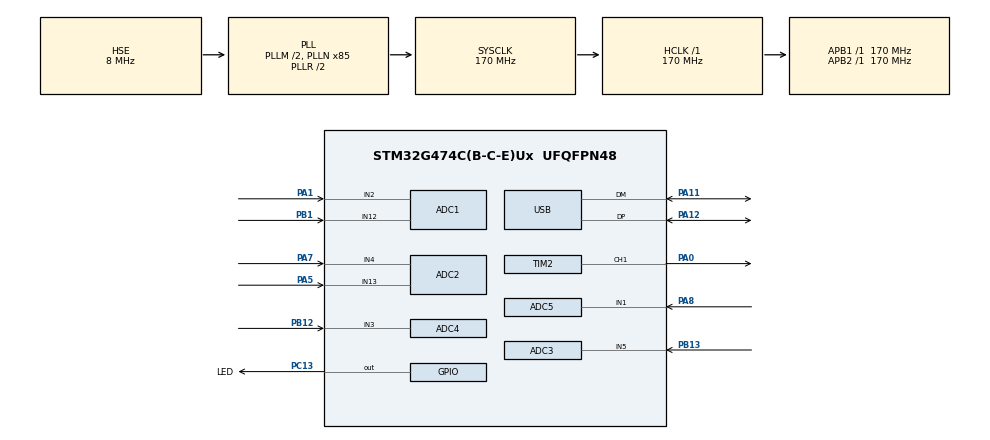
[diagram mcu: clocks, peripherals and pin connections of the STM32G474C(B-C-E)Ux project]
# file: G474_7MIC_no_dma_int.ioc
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ADC1.Channel-1\#ChannelRegularConversion=ADC_CHANNEL_2
ADC1.Channel-2\#ChannelRegularConversion=ADC_CHANNEL_12
ADC1.ContinuousConvMode=ENABLE
ADC1.DMAContinuousRequests=ENABLE
ADC1.ExternalTrigConv=ADC_SOFTWARE_START
ADC1.NbrOfConversion=2
ADC1.NbrOfConversionFlag=1
ADC1.OffsetNumber-1\#ChannelRegularConversion=ADC_OFFSET_NONE
ADC1.OffsetNumber-2\#ChannelRegularConversion=ADC_OFFSET_NONE
ADC1.Rank-1\#ChannelRegularConversion=1
ADC1.Rank-2\#ChannelRegularConversion=2
ADC1.SamplingTime-1\#ChannelRegularConversion=ADC_SAMPLETIME_640CYCLES_5
ADC1.SamplingTime-2\#ChannelRegularConversion=ADC_SAMPLETIME_640CYCLES_5
ADC1.master=1
ADC2.Channel-0\#ChannelRegularConversion=ADC_CHANNEL_4
ADC2.Channel-1\#ChannelRegularConversion=ADC_CHANNEL_13
ADC2.ContinuousConvMode=ENABLE
ADC2.DMAContinuousRequests=ENABLE
ADC2.ExternalTrigConv=ADC_SOFTWARE_START
ADC2.GainCompensation=0
ADC2.NbrOfConversion=2
ADC2.NbrOfConversionFlag=1
ADC2.OffsetNumber-0\#ChannelRegularConversion=ADC_OFFSET_NONE
ADC2.OffsetNumber-1\#ChannelRegularConversion=ADC_OFFSET_NONE
ADC2.Rank-0\#ChannelRegularConversion=1
ADC2.Rank-1\#ChannelRegularConversion=2
ADC2.SamplingTime-0\#ChannelRegularConversion=ADC_SAMPLETIME_640CYCLES_5
ADC2.SamplingTime-1\#ChannelRegularConversion=ADC_SAMPLETIME_640CYCLES_5
ADC3.Channel-0\#ChannelRegularConversion=ADC_CHANNEL_5
ADC3.ContinuousConvMode=ENABLE
ADC3.DMAContinuousRequests=ENABLE
ADC3.ExternalTrigConv=ADC_SOFTWARE_START
ADC3.NbrOfConversionFlag=1
ADC3.OffsetNumber-0\#ChannelRegularConversion=ADC_OFFSET_NONE
ADC3.Rank-0\#ChannelRegularConversion=1
ADC3.SamplingTime-0\#ChannelRegularConversion=ADC_SAMPLETIME_640CYCLES_5
ADC3.master=1
ADC4.Channel-0\#ChannelRegularConversion=ADC_CHANNEL_3
ADC4.ContinuousConvMode=ENABLE
ADC4.DMAContinuousRequests=ENABLE
ADC4.ExternalTrigConv=ADC_SOFTWARE_START
ADC4.NbrOfConversionFlag=1
ADC4.OffsetNumber-0\#ChannelRegularConversion=ADC_OFFSET_NONE
ADC4.Rank-0\#ChannelRegularConversion=1
ADC4.SamplingTime-0\#ChannelRegularConversion=ADC_SAMPLETIME_640CYCLES_5
ADC5.Channel-0\#ChannelRegularConversion=ADC_CHANNEL_1
ADC5.ContinuousConvMode=ENABLE
ADC5.DMAContinuousRequests=ENABLE
ADC5.ExternalTrigConv=ADC_SOFTWARE_START
ADC5.NbrOfConversionFlag=1
ADC5.OffsetNumber-0\#ChannelRegularConversion=ADC_OFFSET_NONE
ADC5.Rank-0\#ChannelRegularConversion=1
ADC5.SamplingTime-0\#ChannelRegularConversion=ADC_SAMPLETIME_640CYCLES_5
Dma.ADC1.0.Direction=DMA_PERIPH_TO_MEMORY
Dma.ADC1.0.EventEnable=DISABLE
Dma.ADC1.0.Instance=DMA1_Channel1
Dma.ADC1.0.MemDataAlignment=DMA_MDATAALIGN_HALFWORD
Dma.ADC1.0.MemInc=DMA_MINC_ENABLE
Dma.ADC1.0.Mode=DMA_CIRCULAR
Dma.ADC1.0.PeriphDataAlignment=DMA_PDATAALIGN_HALFWORD
Dma.ADC1.0.PeriphInc=DMA_PINC_DISABLE
Dma.ADC1.0.Polarity=HAL_DMAMUX_REQ_GEN_RISING
Dma.ADC1.0.Priority=DMA_PRIORITY_MEDIUM
Dma.ADC1.0.RequestNumber=1
Dma.ADC1.0.SignalID=NONE
Dma.ADC1.0.SyncEnable=DISABLE
Dma.ADC1.0.SyncPolarity=HAL_DMAMUX_SYNC_NO_EVENT
Dma.ADC1.0.SyncRequestNumber=1
Dma.ADC1.0.SyncSignalID=NONE
Dma.ADC2.1.Direction=DMA_PERIPH_TO_MEMORY
Dma.ADC2.1.EventEnable=DISABLE
Dma.ADC2.1.Instance=DMA1_Channel2
Dma.ADC2.1.MemDataAlignment=DMA_MDATAALIGN_HALFWORD
Dma.ADC2.1.MemInc=DMA_MINC_ENABLE
Dma.ADC2.1.Mode=DMA_CIRCULAR
Dma.ADC2.1.PeriphDataAlignment=DMA_PDATAALIGN_HALFWORD
Dma.ADC2.1.PeriphInc=DMA_PINC_DISABLE
Dma.ADC2.1.Polarity=HAL_DMAMUX_REQ_GEN_RISING
Dma.ADC2.1.Priority=DMA_PRIORITY_LOW
Dma.ADC2.1.RequestNumber=1
Dma.ADC2.1.SignalID=NONE
Dma.ADC2.1.SyncEnable=DISABLE
Dma.ADC2.1.SyncPolarity=HAL_DMAMUX_SYNC_NO_EVENT
Dma.ADC2.1.SyncRequestNumber=1
Dma.ADC2.1.SyncSignalID=NONE
Dma.ADC3.2.Direction=DMA_PERIPH_TO_MEMORY
Dma.ADC3.2.EventEnable=DISABLE
Dma.ADC3.2.Instance=DMA2_Channel1
Dma.ADC3.2.MemDataAlignment=DMA_MDATAALIGN_HALFWORD
Dma.ADC3.2.MemInc=DMA_MINC_ENABLE
Dma.ADC3.2.Mode=DMA_CIRCULAR
Dma.ADC3.2.PeriphDataAlignment=DMA_PDATAALIGN_HALFWORD
Dma.ADC3.2.PeriphInc=DMA_PINC_DISABLE
Dma.ADC3.2.Polarity=HAL_DMAMUX_REQ_GEN_RISING
Dma.ADC3.2.Priority=DMA_PRIORITY_LOW
Dma.ADC3.2.RequestNumber=1
Dma.ADC3.2.SignalID=NONE
Dma.ADC3.2.SyncEnable=DISABLE
Dma.ADC3.2.SyncPolarity=HAL_DMAMUX_SYNC_NO_EVENT
Dma.ADC3.2.SyncRequestNumber=1
Dma.ADC3.2.SyncSignalID=NONE
Dma.ADC4.3.Direction=DMA_PERIPH_TO_MEMORY
Dma.ADC4.3.EventEnable=DISABLE
Dma.ADC4.3.Instance=DMA2_Channel2
Dma.ADC4.3.MemDataAlignment=DMA_MDATAALIGN_HALFWORD
Dma.ADC4.3.MemInc=DMA_MINC_ENABLE
Dma.ADC4.3.Mode=DMA_CIRCULAR
Dma.ADC4.3.PeriphDataAlignment=DMA_PDATAALIGN_HALFWORD
Dma.ADC4.3.PeriphInc=DMA_PINC_DISABLE
Dma.ADC4.3.Polarity=HAL_DMAMUX_REQ_GEN_RISING
Dma.ADC4.3.Priority=DMA_PRIORITY_LOW
Dma.ADC4.3.RequestNumber=1
Dma.ADC4.3.SignalID=NONE
Dma.ADC4.3.SyncEnable=DISABLE
Dma.ADC4.3.SyncPolarity=HAL_DMAMUX_SYNC_NO_EVENT
Dma.ADC4.3.SyncRequestNumber=1
Dma.ADC4.3.SyncSignalID=NONE
Dma.ADC5.4.Direction=DMA_PERIPH_TO_MEMORY
Dma.ADC5.4.EventEnable=DISABLE
Dma.ADC5.4.Instance=DMA2_Channel3
Dma.ADC5.4.MemDataAlignment=DMA_MDATAALIGN_HALFWORD
Dma.ADC5.4.MemInc=DMA_MINC_ENABLE
Dma.ADC5.4.Mode=DMA_CIRCULAR
Dma.ADC5.4.PeriphDataAlignment=DMA_PDATAALIGN_HALFWORD
Dma.ADC5.4.PeriphInc=DMA_PINC_DISABLE
Dma.ADC5.4.Polarity=HAL_DMAMUX_REQ_GEN_RISING
Dma.ADC5.4.Priority=DMA_PRIORITY_VERY_HIGH
Dma.ADC5.4.RequestNumber=1
Dma.ADC5.4.SignalID=NONE
Dma.ADC5.4.SyncEnable=DISABLE
Dma.ADC5.4.SyncPolarity=HAL_DMAMUX_SYNC_NO_EVENT
Dma.ADC5.4.SyncRequestNumber=1
Dma.ADC5.4.SyncSignalID=NONE
Dma.Request0=ADC1
Dma.Request1=ADC2
Dma.Request2=ADC3
Dma.Request3=ADC4
Dma.Request4=ADC5
FREERTOS.Events01=adc_dma_Event,Dynamic,NULL
FREERTOS.INCLUDE_vTaskDelayUntil=1
FREERTOS.INCLUDE_xEventGroupSetBitFromISR=1
FREERTOS.Tasks01=defaultTask,24,2048,StartDefaultTask,Default,NULL,Dynamic,NULL,NULL;ledTask,8,64,LEDTask,Default,NULL,Dynamic,NULL,NULL
FREERTOS.configENABLE_FPU=1
FREERTOS.configMINIMAL_STACK_SIZE=64
FREERTOS.configTOTAL_HEAP_SIZE=20480
Mcu.Family=STM32G4
Mcu.Name=STM32G474C(B-C-E)Ux
Mcu.Package=UFQFPN48
NVIC.PriorityGroup=NVIC_PRIORITYGROUP_4
NVIC.TIM1_TRG_COM_TIM17_IRQn=true\:5\:0\:false\:false\:true\:false\:false\:true\:true
NVIC.TimeBase=TIM1_TRG_COM_TIM17_IRQn
NVIC.TimeBaseIP=TIM17
NVIC.USB_LP_IRQn=true\:5\:0\:false\:false\:true\:true\:false\:true\:true
PA0.GPIO_ModeDefaultPP=GPIO_MODE_AF_OD
PA0.GPIO_Speed=GPIO_SPEED_FREQ_VERY_HIGH
PA0.Signal=S_TIM2_CH1
PA1.Mode=IN2-Single-Ended
PA1.Signal=ADC1_IN2
PA11.Mode=Device
PA11.Signal=USB_DM
PA12.Mode=Device
PA12.Signal=USB_DP
PA13.Mode=Serial_Wire
PA13.Signal=SYS_JTMS-SWDIO
PA14.Mode=Serial_Wire
PA14.Signal=SYS_JTCK-SWCLK
PA5.Mode=IN13-Single-Ended
PA5.Signal=ADC2_IN13
PA7.Mode=IN4-Single-Ended
PA7.Signal=ADC2_IN4
PA8.Mode=IN1-Single-Ended
PA8.Signal=ADC5_IN1
PB1.Mode=IN12-Single-Ended
PB1.Signal=ADC1_IN12
PB12.Mode=IN3-Single-Ended
PB12.Signal=ADC4_IN3
PB13.Mode=IN5-Single-Ended
PB13.Signal=ADC3_IN5
PC13.GPIO_Label=LED
PC13.PinState=GPIO_PIN_SET
PC13.Signal=GPIO_Output
PF0-OSC_IN.Mode=HSE-External-Oscillator
PF0-OSC_IN.Signal=RCC_OSC_IN
PF1-OSC_OUT.Mode=HSE-External-Oscillator
PF1-OSC_OUT.Signal=RCC_OSC_OUT
ProjectManager.HeapSize=0x100
ProjectManager.StackSize=0xA000
ProjectManager.TargetToolchain=MDK-ARM V5.32
RCC.ADC12Freq_Value=170000000
RCC.ADC345Freq_Value=170000000
RCC.AHBFreq_Value=170000000
RCC.APB1Freq_Value=170000000
RCC.APB1TimFreq_Value=170000000
RCC.APB2Freq_Value=170000000
RCC.APB2TimFreq_Value=170000000
RCC.CK48CLockSelection=RCC_USBCLKSOURCE_HSI48
RCC.CortexFreq_Value=170000000
RCC.EXTERNAL_CLOCK_VALUE=12288000
RCC.HCLKFreq_Value=170000000
RCC.HSE_VALUE=8000000
RCC.HSI48_VALUE=48000000
RCC.HSI_VALUE=16000000
RCC.LSE_VALUE=32768
RCC.PLLM=RCC_PLLM_DIV2
RCC.PLLN=85
RCC.PLLSourceVirtual=RCC_PLLSOURCE_HSE
RCC.SYSCLKFreq_VALUE=170000000
RCC.SYSCLKSource=RCC_SYSCLKSOURCE_PLLCLK
RCC.USBFreq_Value=48000000
RCC.VCOOutputFreq_Value=340000000
SH.S_TIM2_CH1.0=TIM2_CH1,PWM Generation1 CH1
TIM2.AutoReloadPreload=TIM_AUTORELOAD_PRELOAD_ENABLE
TIM2.Channel-PWM\ Generation1\ CH1=TIM_CHANNEL_1
TIM2.PeriodNoDither=1
TIM2.Prescaler=1132
TIM2.PulseNoDither_1=1
TIM6.AutoReloadPreload=TIM_AUTORELOAD_PRELOAD_ENABLE
TIM6.PeriodNoDither=99
TIM6.Prescaler=169
TIM6.TIM_MasterOutputTrigger=TIM_TRGO_UPDATE
TIM7.Prescaler=169
USB_DEVICE.CLASS_NAME_FS=CDC
USB_DEVICE.VirtualMode=Cdc
USB_DEVICE.VirtualModeFS=Cdc_FS
VP_FREERTOS_VS_CMSIS_V2.Mode=CMSIS_V2
VP_SYS_VS_DBSignals.Mode=DisableDeadBatterySignals
VP_SYS_VS_tim17.Mode=TIM17
VP_TIM2_VS_ClockSourceINT.Mode=Internal
VP_TIM6_VS_ClockSourceINT.Mode=Enable_Timer
VP_TIM7_VS_ClockSourceINT.Mode=Enable_Timer
VP_USB_DEVICE_VS_USB_DEVICE_CDC_FS.Mode=CDC_FS
board=custom

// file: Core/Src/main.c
/* USER CODE BEGIN Header */
/**
  ******************************************************************************
  * @file           : main.c
  * @brief          : Main program body
  ******************************************************************************
  * @attention
  *
  * Copyright (c) 2025 STMicroelectronics.
  * All rights reserved.
  *
  * This software is licensed under terms that can be found in the LICENSE file
  * in the root directory of this software component.
  * If no LICENSE file comes with this software, it is provided AS-IS.
  *
  ******************************************************************************
  */
/* USER CODE END Header */
#include "main.h"
#include "cmsis_os.h"
#include "adc.h"
#include "dma.h"
#include "tim.h"
#include "usb_device.h"
#include "gpio.h"

void SystemClock_Config(void);
void MX_FREERTOS_Init(void);

/* USER CODE BEGIN 0 */
//char usb_buff[64]={0};
/* USER CODE END 0 */

int main(void)
{

  /* MCU Configuration--------------------------------------------------------*/

  /* Reset of all peripherals, Initializes the Flash interface and the Systick. */
  HAL_Init();

  /* Configure the system clock */
  SystemClock_Config();

  /* Initialize all configured peripherals */
  MX_GPIO_Init();
  MX_DMA_Init();
  MX_USB_Device_Init();
  MX_TIM2_Init();
  MX_ADC1_Init();
  MX_ADC2_Init();
  MX_ADC3_Init();
  MX_ADC4_Init();
  MX_ADC5_Init();
  MX_TIM7_Init();
  MX_TIM6_Init();
  /* USER CODE BEGIN 2 */

//	LL_TIM_SetCounter(TIM2, 0);
//	LL_TIM_EnableCounter(TIM2);//Enable TIM2
//	uint32_t t_start=0, t_end=0;
//	volatile float a = 123.123;
//	volatile float b = 456.456;
//	volatile float c = 0;
  /* USER CODE END 2 */

  /* Init scheduler */
  osKernelInitialize();  /* Call init function for freertos objects (in freertos.c) */
  MX_FREERTOS_Init();

  /* Start scheduler */
  osKernelStart();

  /* We should never get here as control is now taken by the scheduler */
  /* Infinite loop */
  /* USER CODE BEGIN WHILE */
  while (1)
  {
//	  LL_TIM_SetCounter(TIM2, 0);
//	  t_start = LL_TIM_GetCounter(TIM2);
//	  for(uint16_t j = 0; j<100;j++)
//	  for(uint16_t i = 0; i<10000; i++)
//		c = a * b * 123.0f;
//	  t_end = LL_TIM_GetCounter(TIM2)-t_start;
//
//	  sprintf(usb_buff,"calculate time: %u us = %u ms\r\n",t_end,t_end/1000);
//		CDC_Transmit_FS((uint8_t *)usb_buff,strlen(usb_buff));
//		HAL_GPIO_TogglePin(LED_GPIO_Port,LED_Pin);
//		HAL_Delay(100);
    /* USER CODE END WHILE */

  }
}

void SystemClock_Config(void)
{
  RCC_OscInitTypeDef RCC_OscInitStruct = {0};
  RCC_ClkInitTypeDef RCC_ClkInitStruct = {0};

  /** Configure the main internal regulator output voltage
  */
  HAL_PWREx_ControlVoltageScaling(PWR_REGULATOR_VOLTAGE_SCALE1_BOOST);

  /** Initializes the RCC Oscillators according to the specified parameters
  * in the RCC_OscInitTypeDef structure.
  */
  RCC_OscInitStruct.OscillatorType = RCC_OSCILLATORTYPE_HSI48|RCC_OSCILLATORTYPE_HSE;
  RCC_OscInitStruct.HSEState = RCC_HSE_ON;
  RCC_OscInitStruct.HSI48State = RCC_HSI48_ON;
  RCC_OscInitStruct.PLL.PLLState = RCC_PLL_ON;
  RCC_OscInitStruct.PLL.PLLSource = RCC_PLLSOURCE_HSE;
  RCC_OscInitStruct.PLL.PLLM = RCC_PLLM_DIV2;
  RCC_OscInitStruct.PLL.PLLN = 85;
  RCC_OscInitStruct.PLL.PLLP = RCC_PLLP_DIV2;
  RCC_OscInitStruct.PLL.PLLQ = RCC_PLLQ_DIV2;
  RCC_OscInitStruct.PLL.PLLR = RCC_PLLR_DIV2;
  if (HAL_RCC_OscConfig(&RCC_OscInitStruct) != HAL_OK)
  {
    Error_Handler();
  }

  /** Initializes the CPU, AHB and APB buses clocks
  */
  RCC_ClkInitStruct.ClockType = RCC_CLOCKTYPE_HCLK|RCC_CLOCKTYPE_SYSCLK
                              |RCC_CLOCKTYPE_PCLK1|RCC_CLOCKTYPE_PCLK2;
  RCC_ClkInitStruct.SYSCLKSource = RCC_SYSCLKSOURCE_PLLCLK;
  RCC_ClkInitStruct.AHBCLKDivider = RCC_SYSCLK_DIV1;
  RCC_ClkInitStruct.APB1CLKDivider = RCC_HCLK_DIV1;
  RCC_ClkInitStruct.APB2CLKDivider = RCC_HCLK_DIV1;

  if (HAL_RCC_ClockConfig(&RCC_ClkInitStruct, FLASH_LATENCY_4) != HAL_OK)
  {
    Error_Handler();
  }
}

void HAL_TIM_PeriodElapsedCallback(TIM_HandleTypeDef *htim)
{
  if (htim->Instance == TIM17) {
    HAL_IncTick();
  }
}

void Error_Handler(void)
{
  __disable_irq();
  while (1)
  {
  }
}

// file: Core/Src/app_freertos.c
/* USER CODE BEGIN Header */
/**
  ******************************************************************************
  * File Name          : app_freertos.c
  * Description        : Code for freertos applications
  ******************************************************************************
  * @attention
  *
  * Copyright (c) 2025 STMicroelectronics.
  * All rights reserved.
  *
  * This software is licensed under terms that can be found in the LICENSE file
  * in the root directory of this software component.
  * If no LICENSE file comes with this software, it is provided AS-IS.
  *
  ******************************************************************************
  */
/* USER CODE END Header */

#include "FreeRTOS.h"
#include "task.h"
#include "main.h"
#include "cmsis_os.h"

/* USER CODE BEGIN Includes */
#include "event_groups.h"
/* USER CODE END Includes */

/* USER CODE BEGIN PTD */
// 事件标志宏定义（5个ADC，每个有半满和全满事件）
#define EVENT_ADC1_DMA_HALF  (0x0001UL)  // ADC1半满（0~199数据，因ADC1缓存是400）
#define EVENT_ADC1_DMA_FULL  (0x0002UL)  // ADC1全满（200~399数据）
#define EVENT_ADC2_DMA_HALF  (0x0004UL)  // ADC2半满（0~199）
#define EVENT_ADC2_DMA_FULL  (0x0008UL)  // ADC2全满（200~399）
#define EVENT_ADC3_DMA_HALF  (0x0010UL)  // ADC3半满（0~99）
#define EVENT_ADC3_DMA_FULL  (0x0020UL)  // ADC3全满（100~199）
#define EVENT_ADC4_DMA_HALF  (0x0040UL)  // ADC4半满（0~99）
#define EVENT_ADC4_DMA_FULL  (0x0080UL)  // ADC4全满（100~199）
#define EVENT_ADC5_DMA_HALF  (0x0100UL)  // ADC5半满（0~99）
#define EVENT_ADC5_DMA_FULL  (0x0200UL)  // ADC5全满（100~199）

// 2. 组合标志：所有ADC的半满事件（用于同步等待）
#define EVENT_ALL_HALF (EVENT_ADC1_DMA_HALF | EVENT_ADC2_DMA_HALF | \
                        EVENT_ADC3_DMA_HALF | EVENT_ADC4_DMA_HALF | EVENT_ADC5_DMA_HALF)
// 3. 组合标志：所有ADC的全满事件
#define EVENT_ALL_FULL (EVENT_ADC1_DMA_FULL | EVENT_ADC2_DMA_FULL | \
                        EVENT_ADC3_DMA_FULL | EVENT_ADC4_DMA_FULL | EVENT_ADC5_DMA_FULL)

// 2. 组合标志：所有ADC的半满事件（用于同步等待）
#define EVENT_345_HALF (EVENT_ADC3_DMA_HALF | EVENT_ADC4_DMA_HALF | EVENT_ADC5_DMA_HALF)
// 3. 组合标志：所有ADC的全满事件
#define EVENT_345_FULL (EVENT_ADC3_DMA_FULL | EVENT_ADC4_DMA_FULL | EVENT_ADC5_DMA_FULL)

// 数据帧结构定义：2（帧头）+5×100（5路ADC数据）+2（帧尾）=504个Word_union
#define ADC_DATA_CNT  100    // 每路ADC通道单次发送数据量
#define FRAME_HEAD_CNT 2    // 帧头数量
#define FRAME_TAIL_CNT 2    // 帧尾数量
#define TOTAL_WORD_CNT (FRAME_HEAD_CNT + 5*ADC_DATA_CNT + FRAME_TAIL_CNT)
/* USER CODE END PTD */

/* Definitions for defaultTask */
osThreadId_t defaultTaskHandle;
const osThreadAttr_t defaultTask_attributes = {
  .name = "defaultTask",
  .priority = (osPriority_t) osPriorityNormal,
  .stack_size = 2048 * 4
};
/* Definitions for ledTask */
osThreadId_t ledTaskHandle;
const osThreadAttr_t ledTask_attributes = {
  .name = "ledTask",
  .priority = (osPriority_t) osPriorityLow,
  .stack_size = 64 * 4
};
/* Definitions for adc_dma_Event */
osEventFlagsId_t adc_dma_EventHandle;
const osEventFlagsAttr_t adc_dma_Event_attributes = {
  .name = "adc_dma_Event"
};

void StartDefaultTask(void *argument);
void LEDTask(void *argument);

void MX_FREERTOS_Init(void); /* (MISRA C 2004 rule 8.1) */

void MX_FREERTOS_Init(void) {

  /* Create the thread(s) */
  /* creation of defaultTask */
  defaultTaskHandle = osThreadNew(StartDefaultTask, NULL, &defaultTask_attributes);

  /* creation of ledTask */
  ledTaskHandle = osThreadNew(LEDTask, NULL, &ledTask_attributes);

  /* Create the event(s) */
  /* creation of adc_dma_Event */
  adc_dma_EventHandle = osEventFlagsNew(&adc_dma_Event_attributes);

  /* USER CODE BEGIN RTOS_EVENTS */
  /* add events, ... */
//  EventGroupHandle_t xEventGroup = (EventGroupHandle_t)adc_dma_EventHandle; // 转换句柄类型
  /* USER CODE END RTOS_EVENTS */

}

/* USER CODE BEGIN Header_StartDefaultTask */
/**
  * @brief  Function implementing the defaultTask thread.
  * @param  argument: Not used
  * @retval None
  */

#define PACK_FRAME 100
uint16_t ADC1_value[2];//MIC7 MIC4
uint16_t ADC2_value[2];//MIC5 MIC6
uint16_t ADC3_value[1];//MIC2
uint16_t ADC4_value[1];//MIC3
uint16_t ADC5_value[1];//MIC1

volatile Word_union mic_data_1[PACK_FRAME*7+4];
volatile Word_union mic_data_2[PACK_FRAME*7+4];
volatile Word_union* mic_send_p=mic_data_1;
volatile Word_union* mic_store_p=mic_data_2;

//电压采集完成之后需要进行缓存切换
void exchange_res_p(void)
{
	static uint8_t state=1;//第一次运行该函数前 采集的数据存到mic_data_2   第一次运行该函数后状态变为0，发送的指针指向mic_data_1  之后循环往复
	state=!state;

	if(state)
	{
		mic_send_p=mic_data_1;
		mic_store_p=mic_data_2;
	}
	else
	{
		mic_send_p=mic_data_2;
		mic_store_p=mic_data_1;
	}
}

/* USER CODE END Header_StartDefaultTask */
void StartDefaultTask(void *argument)
{
  /* USER CODE BEGIN StartDefaultTask */
	char usb_buff[4096]={0};
	char usb_buff2[256]={0};
	LL_TIM_SetCounter(TIM7, 0);
	LL_TIM_EnableCounter(TIM7);//Enable TIM7
	HAL_TIM_Base_Start(&htim6);
	HAL_TIM_PWM_Start(&htim2,TIM_CHANNEL_1);

	mic_data_1[0].byte[0]=0x55;//帧头
	mic_data_1[0].byte[1]=0xAA;
	mic_data_1[1].byte[0]=0xBB;
	mic_data_1[1].byte[1]=0xCC;
	for(uint16_t i=0;i<PACK_FRAME*7;i++)
	{
		mic_data_1[2+i].word16=i*1+1;
	}
	mic_data_1[PACK_FRAME*7+2].byte[0]=0xAA;//帧尾
	mic_data_1[PACK_FRAME*7+2].byte[1]=0x55;
	mic_data_1[PACK_FRAME*7+3].byte[0]=0x66;
	mic_data_1[PACK_FRAME*7+3].byte[1]=0x77;

	mic_data_2[0].byte[0]=0x55;//帧头
	mic_data_2[0].byte[1]=0xAA;
	mic_data_2[1].byte[0]=0xBB;
	mic_data_2[1].byte[1]=0xCC;
	for(uint16_t i=0;i<PACK_FRAME*7;i++)
	{
		mic_data_2[2+i].word16=i*2+2;
	}
	mic_data_2[PACK_FRAME*7+2].byte[0]=0xAA;//帧尾
	mic_data_2[PACK_FRAME*7+2].byte[1]=0x55;
	mic_data_2[PACK_FRAME*7+3].byte[0]=0x66;
	mic_data_2[PACK_FRAME*7+3].byte[1]=0x77;

	HAL_ADCEx_Calibration_Start(&hadc1,ADC_SINGLE_ENDED);
	HAL_ADCEx_Calibration_Start(&hadc2,ADC_SINGLE_ENDED);
	HAL_ADCEx_Calibration_Start(&hadc3,ADC_SINGLE_ENDED);
	HAL_ADCEx_Calibration_Start(&hadc4,ADC_SINGLE_ENDED);
	HAL_ADCEx_Calibration_Start(&hadc5,ADC_SINGLE_ENDED);

	osDelay(100);

	//要关闭ADC的连续转换，不然不受定时器触发的约束，一直转换
	HAL_ADC_Start_DMA(&hadc1, (uint32_t *)ADC1_value, 2);
	HAL_ADC_Start_DMA(&hadc2, (uint32_t *)ADC2_value, 2);
	HAL_ADC_Start_DMA(&hadc3, (uint32_t *)ADC3_value, 1);
	HAL_ADC_Start_DMA(&hadc4, (uint32_t *)ADC4_value, 1);
	HAL_ADC_Start_DMA(&hadc5, (uint32_t *)ADC5_value, 1);

	uint32_t t_start = 0, t_string = 0, t_send = 0, t_send2 = 0, t_end = 0;
	uint8_t CDC_result = USBD_OK;

	TickType_t xLastWakeTime;
	xLastWakeTime = xTaskGetTickCount();
	uint32_t ulReceivedEvents;          // 接收的事件标志

	LL_TIM_SetCounter(TIM7, 0);
  /* Infinite loop */
	for(;;)
	{

		t_start = LL_TIM_GetCounter(TIM7);

//		for(uint16_t i=0; i<100; i++) {
//		mic_store_p[FRAME_HEAD_CNT + i].word16 = ADC5_value[0];
//		mic_store_p[FRAME_HEAD_CNT + 100 + i].word16 = ADC3_value[0];
//		mic_store_p[FRAME_HEAD_CNT + 200 + i].word16 = ADC4_value[0];
//		mic_store_p[FRAME_HEAD_CNT + 300 + i].word16 = ADC1_value[1];
//		mic_store_p[FRAME_HEAD_CNT + 400 + i].word16 = ADC2_value[0];
//		mic_store_p[FRAME_HEAD_CNT + 500 + i].word16 = ADC2_value[1];
//		mic_store_p[FRAME_HEAD_CNT + 600 + i].word16 = ADC1_value[0];

//		user_delaynus_tim_until(100);//vTaskDelayUntil(&xLastWakeTime, pdMS_TO_TICKS(1));
//		}
		for(uint16_t i=0; i<PACK_FRAME; i++) {
		mic_store_p[FRAME_HEAD_CNT + i].word16 = ADC5_value[0];
		mic_store_p[FRAME_HEAD_CNT + PACK_FRAME*1 + i].word16 = ADC3_value[0];
		mic_store_p[FRAME_HEAD_CNT + PACK_FRAME*2 + i].word16 = ADC4_value[0];
		mic_store_p[FRAME_HEAD_CNT + PACK_FRAME*3 + i].word16 = ADC1_value[1];
		mic_store_p[FRAME_HEAD_CNT + PACK_FRAME*4 + i].word16 = ADC2_value[0];
		mic_store_p[FRAME_HEAD_CNT + PACK_FRAME*5 + i].word16 = ADC2_value[1];
		mic_store_p[FRAME_HEAD_CNT + PACK_FRAME*6 + i].word16 = ADC1_value[0];

		user_delaynus_tim_until(100);//vTaskDelayUntil(&xLastWakeTime, pdMS_TO_TICKS(1));
		}

		t_string = LL_TIM_GetCounter(TIM7)-t_start;

//		sprintf(usb_buff2,"t_send:%.1f us,t_send2:%.1f us,t_string:%.1f us,CDC_result:%u\r\n",t_send/1.0,t_send2/1.0,t_string/1.0,CDC_result);
//		CDC_Transmit_FS((uint8_t *)usb_buff2,strlen(usb_buff2));

//		sprintf(usb_buff2,"ADC5_value[0]:%d\r\n",ADC5_value[0]);
//		CDC_Transmit_FS((uint8_t *)usb_buff2,strlen(usb_buff2));

//		CDC_Transmit_FS((uint8_t *)usb_buff,strlen(usb_buff));

		exchange_res_p();//切换缓存区
		CDC_Transmit_FS((uint8_t *)mic_send_p->byte,(PACK_FRAME*7+4)*2);

		usb_buff[0]=0;

//		osDelay(1);
//		vTaskDelayUntil(&xLastWakeTime, pdMS_TO_TICKS(10));
	}

/*

//		sprintf(usb_buff,"%d,%d,%d,%d,%d,%d,%d\r\n",
//		adc_value_struct.IN1_MIC1,adc_value_struct.IN5_MIC2,adc_value_struct.IN3_MIC3,
//		adc_value_struct.IN12_MIC4,adc_value_struct.IN4_MIC5,adc_value_struct.IN13_MIC6,adc_value_struct.IN2_MIC7);

//		sprintf(usb_buff + strlen((char *)usb_buff),"%d\r\n%d\r\n%d\r\n%d\r\n%d\r\n%d\r\n%d\r\n%d\r\n%d\r\n%d\r\n",
//			ADC5_value[0],
//			ADC5_value[1],
//			ADC5_value[2],
//			ADC5_value[3],
//			ADC5_value[4],
//			ADC5_value[5],
//			ADC5_value[6],
//			ADC5_value[7],
//			ADC5_value[8],
//			ADC5_value[9]
//		);

//	//t_send:8.0 us,t_send2:530.7 us,t_string:477.5 us
//	sprintf(usb_buff2,"t_send:%.1f us,t_send2:%.1f us,t_string:%.1f us,CDC_result:%u\r\n",t_send/10.0,t_send2/10.0,t_string/10.0,CDC_result);

//	t_string = LL_TIM_GetCounter(TIM7)-t_start;

//	CDC_Transmit_FS((uint8_t *)usb_buff,strlen(usb_buff));

//	t_send = LL_TIM_GetCounter(TIM7)-t_string;
//	do
//	{
//		CDC_result = CDC_Transmit_FS((uint8_t *)usb_buff2,strlen(usb_buff2));
//	}
//	while(CDC_result == USBD_BUSY);
//	t_send2 = LL_TIM_GetCounter(TIM7)-t_send;
*/

  /* USER CODE END StartDefaultTask */
}

void LEDTask(void *argument)
{
  /* USER CODE BEGIN LEDTask */
	TickType_t xLastWakeTime;
	xLastWakeTime = xTaskGetTickCount();
  /* Infinite loop */
  for(;;)
  {
	  HAL_GPIO_TogglePin(LED_GPIO_Port,LED_Pin);
//		osDelay(100);
	  vTaskDelayUntil(&xLastWakeTime, pdMS_TO_TICKS(100));
  }
  /* USER CODE END LEDTask */
}

/* USER CODE BEGIN Application */
void user_delaynus_tim(uint16_t nus)
{

	LL_TIM_SetCounter(TIM7, 0);
	while (LL_TIM_GetCounter(TIM7) < nus)
	{
		;// Optionally, add a timeout condition here to avoid an infinite loop
	}
}
void user_delaynus_tim_until(uint16_t nus)
{
	while (LL_TIM_GetCounter(TIM7) < nus)
	{
		;// Optionally, add a timeout condition here to avoid an infinite loop
	}
	LL_TIM_SetCounter(TIM7, 0);
}

void HAL_ADC_ConvCpltCallback(ADC_HandleTypeDef *hadc)
{
	BaseType_t xHigherPriorityTaskWoken = pdFALSE;
	EventGroupHandle_t xEventGroup = (EventGroupHandle_t)adc_dma_EventHandle; // 转换句柄类型
	if(hadc == & hadc1)
	{
		xEventGroupSetBitsFromISR(
		  xEventGroup,          // 事件组句柄（转换后）
		  EVENT_ADC1_DMA_FULL,  // 要设置的事件标志
		  &xHigherPriorityTaskWoken  // 输出参数：是否需要切换任务
		);
	}
	else if(hadc == & hadc2)
	{
		xEventGroupSetBitsFromISR(
		  xEventGroup,          // 事件组句柄（转换后）
		  EVENT_ADC2_DMA_FULL,  // 要设置的事件标志
		  &xHigherPriorityTaskWoken  // 输出参数：是否需要切换任务
		);
	}
	else if(hadc == & hadc3)
	{
		xEventGroupSetBitsFromISR(
		  xEventGroup,          // 事件组句柄（转换后）
		  EVENT_ADC3_DMA_FULL,  // 要设置的事件标志
		  &xHigherPriorityTaskWoken  // 输出参数：是否需要切换任务
		);
	}
	else if(hadc == & hadc4)
	{
		xEventGroupSetBitsFromISR(
		  xEventGroup,          // 事件组句柄（转换后）
		  EVENT_ADC4_DMA_FULL,  // 要设置的事件标志
		  &xHigherPriorityTaskWoken  // 输出参数：是否需要切换任务
		);
	}
	else if(hadc == & hadc5)
	{
		xEventGroupSetBitsFromISR(
		  xEventGroup,          // 事件组句柄（转换后）
		  EVENT_ADC5_DMA_FULL,  // 要设置的事件标志
		  &xHigherPriorityTaskWoken  // 输出参数：是否需要切换任务
		);
	}
	portYIELD_FROM_ISR(xHigherPriorityTaskWoken);
}

void HAL_ADC_ConvHalfCpltCallback(ADC_HandleTypeDef *hadc)
{
	BaseType_t xHigherPriorityTaskWoken = pdFALSE;
	EventGroupHandle_t xEventGroup = (EventGroupHandle_t)adc_dma_EventHandle; // 转换句柄类型
	if(hadc == & hadc1)
	{
		xEventGroupSetBitsFromISR(
		  xEventGroup,          // 事件组句柄（转换后）
		  EVENT_ADC1_DMA_HALF,  // 要设置的事件标志
		  &xHigherPriorityTaskWoken  // 输出参数：是否需要切换任务
		);
	}
	else if(hadc == & hadc2)
	{
		xEventGroupSetBitsFromISR(
		  xEventGroup,          // 事件组句柄（转换后）
		  EVENT_ADC2_DMA_HALF,  // 要设置的事件标志
		  &xHigherPriorityTaskWoken  // 输出参数：是否需要切换任务
		);
	}
	else if(hadc == & hadc3)
	{
		xEventGroupSetBitsFromISR(
		  xEventGroup,          // 事件组句柄（转换后）
		  EVENT_ADC3_DMA_HALF,  // 要设置的事件标志
		  &xHigherPriorityTaskWoken  // 输出参数：是否需要切换任务
		);
	}
	else if(hadc == & hadc4)
	{
		xEventGroupSetBitsFromISR(
		  xEventGroup,          // 事件组句柄（转换后）
		  EVENT_ADC4_DMA_HALF,  // 要设置的事件标志
		  &xHigherPriorityTaskWoken  // 输出参数：是否需要切换任务
		);
	}
	else if(hadc == & hadc5)
	{
		xEventGroupSetBitsFromISR(
		  xEventGroup,          // 事件组句柄（转换后）
		  EVENT_ADC5_DMA_HALF,  // 要设置的事件标志
		  &xHigherPriorityTaskWoken  // 输出参数：是否需要切换任务
		);
	}
	portYIELD_FROM_ISR(xHigherPriorityTaskWoken);
}
/* USER CODE END Application */
